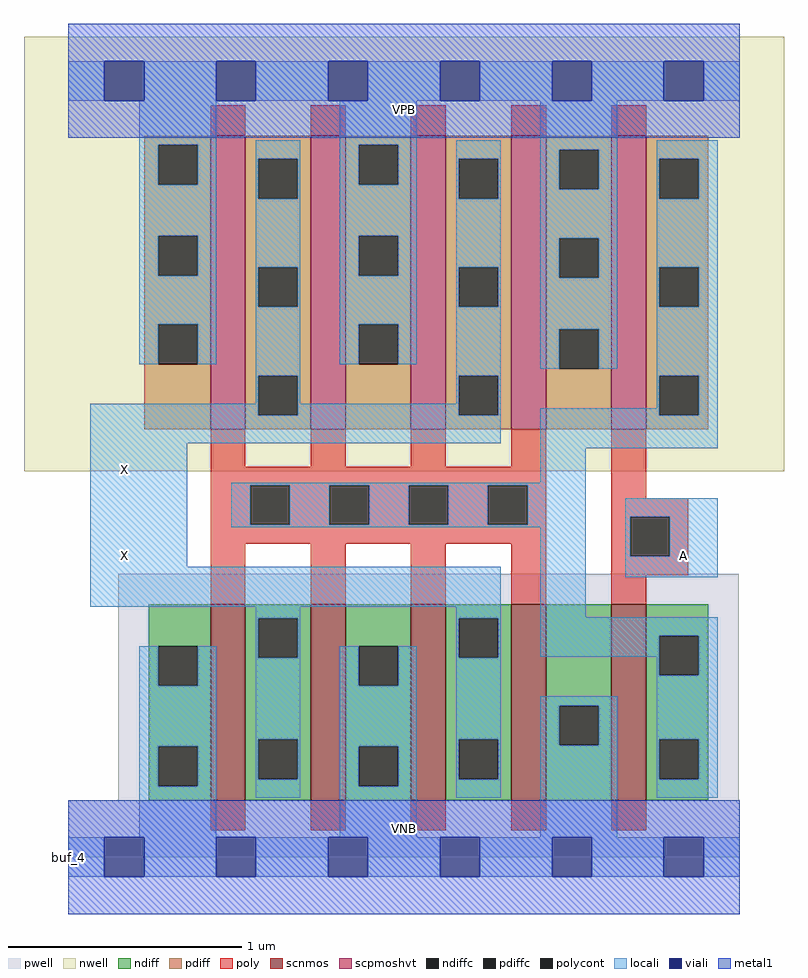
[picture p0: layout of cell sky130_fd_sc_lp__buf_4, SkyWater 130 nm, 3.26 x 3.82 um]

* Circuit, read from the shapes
.subckt sky130_fd_sc_lp__buf_4 A VGND VNB VPB VPWR X
XM1 X n1 VGND VNB sky130_fd_pr__nfet_01v8 w=0.84 l=0.15 m=4
XM2 n1 A VGND VNB sky130_fd_pr__nfet_01v8 w=0.84 l=0.15
XM3 X n1 VPWR VPB sky130_fd_pr__pfet_01v8_hvt w=1.26 l=0.15 m=4
XM4 n1 A VPWR VPB sky130_fd_pr__pfet_01v8_hvt w=1.26 l=0.15
.ends

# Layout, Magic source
magic
tech sky130A
magscale 1 2
<< nwell >>
rect -38 331 614 704
<< pwell >>
rect 43 49 575 243
rect 0 0 576 49
<< scnmos >>
rect 122 49 152 217
rect 208 49 238 217
rect 294 49 324 217
rect 380 49 410 217
rect 466 49 496 217
<< scpmoshvt >>
rect 122 367 152 619
rect 208 367 238 619
rect 294 367 324 619
rect 380 367 410 619
rect 466 367 496 619
<< ndiff >>
rect 69 181 122 217
rect 69 147 77 181
rect 111 147 122 181
rect 69 95 122 147
rect 69 61 77 95
rect 111 61 122 95
rect 69 49 122 61
rect 152 205 208 217
rect 152 171 163 205
rect 197 171 208 205
rect 152 101 208 171
rect 152 67 163 101
rect 197 67 208 101
rect 152 49 208 67
rect 238 181 294 217
rect 238 147 249 181
rect 283 147 294 181
rect 238 95 294 147
rect 238 61 249 95
rect 283 61 294 95
rect 238 49 294 61
rect 324 205 380 217
rect 324 171 335 205
rect 369 171 380 205
rect 324 101 380 171
rect 324 67 335 101
rect 369 67 380 101
rect 324 49 380 67
rect 410 130 466 217
rect 410 96 421 130
rect 455 96 466 130
rect 410 49 466 96
rect 496 190 549 217
rect 496 156 507 190
rect 541 156 549 190
rect 496 101 549 156
rect 496 67 507 101
rect 541 67 549 101
rect 496 49 549 67
<< pdiff >>
rect 65 611 122 619
rect 65 577 77 611
rect 111 577 122 611
rect 65 533 122 577
rect 65 499 77 533
rect 111 499 122 533
rect 65 457 122 499
rect 65 423 77 457
rect 111 423 122 457
rect 65 367 122 423
rect 152 599 208 619
rect 152 565 163 599
rect 197 565 208 599
rect 152 506 208 565
rect 152 472 163 506
rect 197 472 208 506
rect 152 413 208 472
rect 152 379 163 413
rect 197 379 208 413
rect 152 367 208 379
rect 238 611 294 619
rect 238 577 249 611
rect 283 577 294 611
rect 238 533 294 577
rect 238 499 249 533
rect 283 499 294 533
rect 238 457 294 499
rect 238 423 249 457
rect 283 423 294 457
rect 238 367 294 423
rect 324 599 380 619
rect 324 565 335 599
rect 369 565 380 599
rect 324 506 380 565
rect 324 472 335 506
rect 369 472 380 506
rect 324 413 380 472
rect 324 379 335 413
rect 369 379 380 413
rect 324 367 380 379
rect 410 607 466 619
rect 410 573 421 607
rect 455 573 466 607
rect 410 531 466 573
rect 410 497 421 531
rect 455 497 466 531
rect 410 453 466 497
rect 410 419 421 453
rect 455 419 466 453
rect 410 367 466 419
rect 496 599 549 619
rect 496 565 507 599
rect 541 565 549 599
rect 496 506 549 565
rect 496 472 507 506
rect 541 472 549 506
rect 496 413 549 472
rect 496 379 507 413
rect 541 379 549 413
rect 496 367 549 379
<< ndiffc >>
rect 77 147 111 181
rect 77 61 111 95
rect 163 171 197 205
rect 163 67 197 101
rect 249 147 283 181
rect 249 61 283 95
rect 335 171 369 205
rect 335 67 369 101
rect 421 96 455 130
rect 507 156 541 190
rect 507 67 541 101
<< pdiffc >>
rect 77 577 111 611
rect 77 499 111 533
rect 77 423 111 457
rect 163 565 197 599
rect 163 472 197 506
rect 163 379 197 413
rect 249 577 283 611
rect 249 499 283 533
rect 249 423 283 457
rect 335 565 369 599
rect 335 472 369 506
rect 335 379 369 413
rect 421 573 455 607
rect 421 497 455 531
rect 421 419 455 453
rect 507 565 541 599
rect 507 472 541 506
rect 507 379 541 413
<< poly >>
rect 122 619 152 645
rect 208 619 238 645
rect 294 619 324 645
rect 380 619 410 645
rect 466 619 496 645
rect 122 335 152 367
rect 208 335 238 367
rect 294 335 324 367
rect 380 335 410 367
rect 122 319 410 335
rect 122 285 156 319
rect 190 285 224 319
rect 258 285 292 319
rect 326 285 360 319
rect 394 285 410 319
rect 122 269 410 285
rect 122 217 152 269
rect 208 217 238 269
rect 294 217 324 269
rect 380 217 410 269
rect 466 308 496 367
rect 466 292 532 308
rect 466 258 482 292
rect 516 258 532 292
rect 466 242 532 258
rect 466 217 496 242
rect 122 23 152 49
rect 208 23 238 49
rect 294 23 324 49
rect 380 23 410 49
rect 466 23 496 49
<< polycont >>
rect 156 285 190 319
rect 224 285 258 319
rect 292 285 326 319
rect 360 285 394 319
rect 482 258 516 292
<< locali >>
rect 0 649 31 683
rect 65 649 127 683
rect 161 649 223 683
rect 257 649 319 683
rect 353 649 415 683
rect 449 649 511 683
rect 545 649 576 683
rect 61 611 127 649
rect 61 577 77 611
rect 111 577 127 611
rect 61 533 127 577
rect 61 499 77 533
rect 111 499 127 533
rect 61 457 127 499
rect 61 423 77 457
rect 111 423 127 457
rect 161 599 199 615
rect 161 565 163 599
rect 197 565 199 599
rect 161 506 199 565
rect 161 472 163 506
rect 197 472 199 506
rect 161 413 199 472
rect 233 611 299 649
rect 233 577 249 611
rect 283 577 299 611
rect 233 533 299 577
rect 233 499 249 533
rect 283 499 299 533
rect 233 457 299 499
rect 233 423 249 457
rect 283 423 299 457
rect 333 599 371 615
rect 333 565 335 599
rect 369 565 371 599
rect 333 506 371 565
rect 333 472 335 506
rect 369 472 371 506
rect 161 389 163 413
rect 19 379 163 389
rect 197 389 199 413
rect 333 413 371 472
rect 405 607 471 649
rect 405 573 421 607
rect 455 573 471 607
rect 405 531 471 573
rect 405 497 421 531
rect 455 497 471 531
rect 405 453 471 497
rect 405 419 421 453
rect 455 419 471 453
rect 505 599 557 615
rect 505 565 507 599
rect 541 565 557 599
rect 505 506 557 565
rect 505 472 507 506
rect 541 472 557 506
rect 333 389 335 413
rect 197 379 335 389
rect 369 379 371 413
rect 505 413 557 472
rect 505 385 507 413
rect 19 355 371 379
rect 405 379 507 385
rect 541 379 557 413
rect 19 249 102 355
rect 405 351 557 379
rect 405 321 444 351
rect 140 319 444 321
rect 140 285 156 319
rect 190 285 224 319
rect 258 285 292 319
rect 326 285 360 319
rect 394 285 444 319
rect 140 283 444 285
rect 19 215 371 249
rect 161 205 199 215
rect 61 147 77 181
rect 111 147 127 181
rect 61 95 127 147
rect 61 61 77 95
rect 111 61 127 95
rect 61 17 127 61
rect 161 171 163 205
rect 197 171 199 205
rect 333 205 371 215
rect 161 101 199 171
rect 161 67 163 101
rect 197 67 199 101
rect 161 51 199 67
rect 233 147 249 181
rect 283 147 299 181
rect 233 95 299 147
rect 233 61 249 95
rect 283 61 299 95
rect 233 17 299 61
rect 333 171 335 205
rect 369 171 371 205
rect 405 206 444 283
rect 478 292 557 308
rect 478 258 482 292
rect 516 258 557 292
rect 478 240 557 258
rect 405 190 557 206
rect 405 172 507 190
rect 333 101 371 171
rect 505 156 507 172
rect 541 156 557 190
rect 333 67 335 101
rect 369 67 371 101
rect 333 51 371 67
rect 405 130 471 138
rect 405 96 421 130
rect 455 96 471 130
rect 405 17 471 96
rect 505 101 557 156
rect 505 67 507 101
rect 541 67 557 101
rect 505 51 557 67
rect 0 -17 31 17
rect 65 -17 127 17
rect 161 -17 223 17
rect 257 -17 319 17
rect 353 -17 415 17
rect 449 -17 511 17
rect 545 -17 576 17
<< viali >>
rect 31 649 65 683
rect 127 649 161 683
rect 223 649 257 683
rect 319 649 353 683
rect 415 649 449 683
rect 511 649 545 683
rect 31 -17 65 17
rect 127 -17 161 17
rect 223 -17 257 17
rect 319 -17 353 17
rect 415 -17 449 17
rect 511 -17 545 17
<< metal1 >>
rect 0 683 576 715
rect 0 649 31 683
rect 65 649 127 683
rect 161 649 223 683
rect 257 649 319 683
rect 353 649 415 683
rect 449 649 511 683
rect 545 649 576 683
rect 0 617 576 649
rect 0 17 576 49
rect 0 -17 31 17
rect 65 -17 127 17
rect 161 -17 223 17
rect 257 -17 319 17
rect 353 -17 415 17
rect 449 -17 511 17
rect 545 -17 576 17
rect 0 -49 576 -17
<< labels >>
flabel pwell s 0 0 576 49 0 FreeSans 200 0 0 0 VNB
port 3 nsew ground bidirectional
flabel nwell s 0 617 576 666 0 FreeSans 200 0 0 0 VPB
port 4 nsew power bidirectional
rlabel comment s 0 0 0 0 4 buf_4
flabel metal1 s 0 617 576 666 0 FreeSans 340 0 0 0 VPWR
port 5 nsew power bidirectional
flabel metal1 s 0 0 576 49 0 FreeSans 340 0 0 0 VGND
port 2 nsew ground bidirectional
flabel locali s 511 242 545 276 0 FreeSans 340 0 0 0 A
port 1 nsew signal input
flabel locali s 31 242 65 276 0 FreeSans 340 0 0 0 X
port 6 nsew signal output
flabel locali s 31 316 65 350 0 FreeSans 340 0 0 0 X
port 6 nsew signal output
<< properties >>
string LEFsite unit
string LEFclass CORE
string FIXED_BBOX 0 0 576 666
string GDS_FILE $PDKPATH/libs.ref/sky130_fd_sc_lp/gds/sky130_fd_sc_lp.gds
string LEFsymmetry X Y R90
string GDS_END 5101886
string GDS_START 5096136
<< end >>
